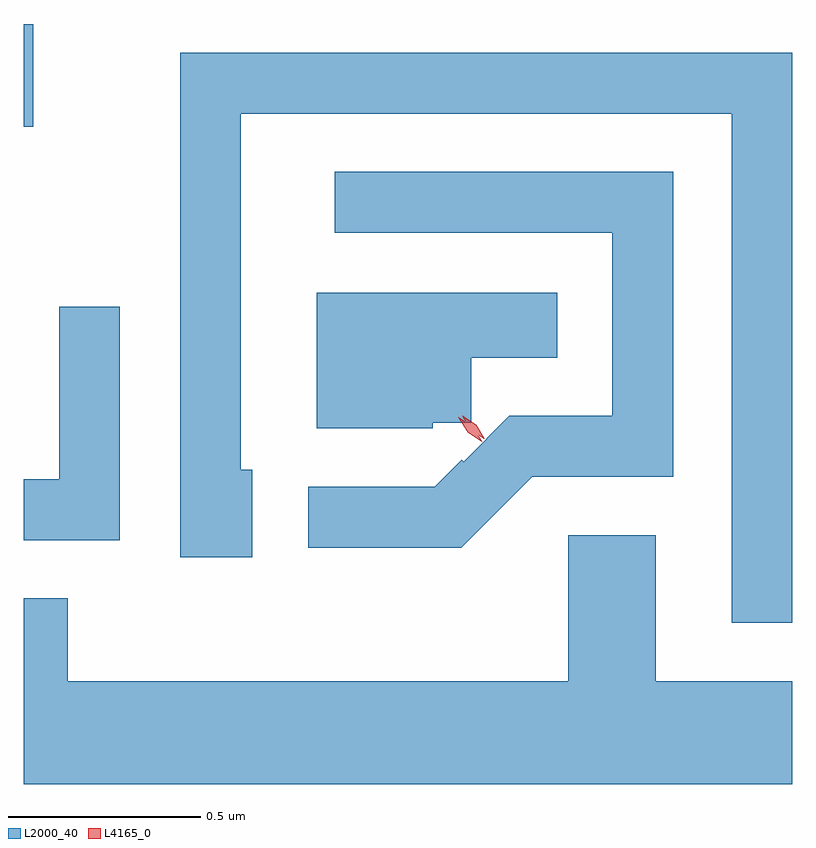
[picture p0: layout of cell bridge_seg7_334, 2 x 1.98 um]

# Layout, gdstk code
import gdstk
lib = gdstk.Library(unit=1e-6, precision=1e-09)
def R(c, l, rs):  # rectangles x0, y0, x1, y1
    for r in rs: c.add(gdstk.rectangle(r[:2], r[2:], *l))
def P(c, l, *ps):  # polygons
    for p in ps: c.add(gdstk.Polygon(p, *l))
L2000_40 = (2000, 40)
L4165_0 = (4165, 0)

bridge_seg7_334 = lib.new_cell('bridge_seg7_334')
R(bridge_seg7_334, L2000_40, [(1184.674,1798.166,1184.699,1798.434)])
P(bridge_seg7_334, L2000_40, [(1186.674,1798.359),(1185.081,1798.359),(1185.081,1797.046),(1185.269,1797.046),(1185.269,1797.274),(1185.239,1797.274),(1185.239,1798.201),(1186.516,1798.201),(1186.516,1796.876),(1186.674,1796.876)],
  [(1185.997,1797.256),(1186.364,1797.256),(1186.364,1798.049),(1185.483,1798.049),(1185.483,1797.891),(1186.206,1797.891),(1186.206,1797.414),(1185.938,1797.414),(1185.819,1797.295),(1185.814,1797.3),(1185.744,1797.229),(1185.414,1797.229),(1185.414,1797.071),(1185.812,1797.071)],
  [(1185.738,1797.396),(1185.838,1797.396),(1185.838,1797.566),(1186.063,1797.566),(1186.063,1797.734),(1185.436,1797.734),(1185.436,1797.382),(1185.738,1797.382)],
  [(1184.924,1797.698),(1184.766,1797.698),(1184.766,1797.249),(1184.674,1797.249),(1184.674,1797.091),(1184.924,1797.091)],
  [(1186.674,1796.724),(1186.319,1796.724),(1186.319,1797.104),(1186.091,1797.104),(1186.091,1796.724),(1184.789,1796.724),(1184.789,1796.939),(1184.674,1796.939),(1184.674,1796.456),(1186.674,1796.456)])
P(bridge_seg7_334, L4165_0, [(1185.866,1797.347),(1185.829,1797.372),(1185.805,1797.41),(1185.805,1797.41),(1185.806,1797.41),(1185.843,1797.386),(1185.867,1797.347),(1185.867,1797.347)],
  [(1185.871,1797.355),(1185.836,1797.378),(1185.815,1797.414),(1185.815,1797.414),(1185.816,1797.414),(1185.851,1797.391),(1185.872,1797.356),(1185.872,1797.355)])

lib.write_gds('bridge_seg7_334.gds')
